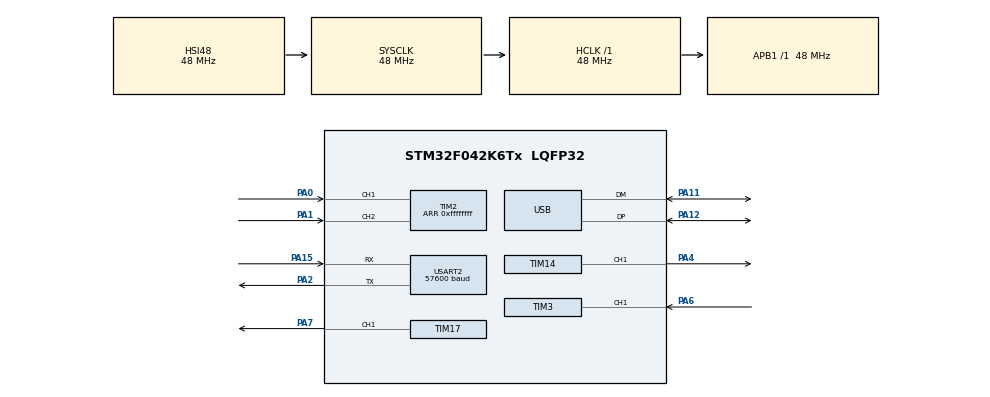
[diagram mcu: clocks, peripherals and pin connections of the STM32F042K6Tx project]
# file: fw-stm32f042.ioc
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Dma.Request0=TIM2_CH1
Dma.TIM2_CH1.0.Direction=DMA_PERIPH_TO_MEMORY
Dma.TIM2_CH1.0.Instance=DMA1_Channel5
Dma.TIM2_CH1.0.MemDataAlignment=DMA_MDATAALIGN_WORD
Dma.TIM2_CH1.0.MemInc=DMA_MINC_ENABLE
Dma.TIM2_CH1.0.Mode=DMA_NORMAL
Dma.TIM2_CH1.0.PeriphDataAlignment=DMA_PDATAALIGN_WORD
Dma.TIM2_CH1.0.PeriphInc=DMA_PINC_DISABLE
Dma.TIM2_CH1.0.Priority=DMA_PRIORITY_HIGH
Mcu.Family=STM32F0
Mcu.Name=STM32F042K6Tx
Mcu.Package=LQFP32
NVIC.DMA1_Channel4_5_IRQn=true\:0\:0\:false\:false\:true
NVIC.USART2_IRQn=true\:0\:0\:false\:false\:true
NVIC.USB_IRQn=true\:0\:0\:false\:false\:true
PA0.Signal=S_TIM2_CH1_ETR
PA1.Signal=S_TIM2_CH2
PA11.Mode=Device
PA11.Signal=USB_DM
PA12.Mode=Device
PA12.Signal=USB_DP
PA13.GPIO_Label=SWDIO
PA13.Signal=SYS_SWDIO
PA14.GPIO_Label=SWCLK
PA14.Signal=SYS_SWCLK
PA15.Mode=Asynchronous
PA15.Signal=USART2_RX
PA2.Mode=Asynchronous
PA2.Signal=USART2_TX
PA4.Signal=S_TIM14_CH1
PA6.Signal=S_TIM3_CH1
PA7.Signal=S_TIM17_CH1
PF0-OSC_IN.GPIO_Label=MCO
PF0-OSC_IN.Mode=HSE-External-Oscillator
PF0-OSC_IN.Signal=RCC_OSC_IN
PF1-OSC_OUT.Mode=HSE-External-Oscillator
PF1-OSC_OUT.Signal=RCC_OSC_OUT
ProjectManager.HeapSize=0x200
ProjectManager.StackSize=0x400
ProjectManager.TargetToolchain=SW4STM32
RCC.AHBFreq_Value=48000000
RCC.APB1Freq_Value=48000000
RCC.APB1TimFreq_Value=48000000
RCC.HCLKFreq_Value=48000000
RCC.HSIState=RCC_HSI_ON
RCC.SYSCLKFreq_VALUE=48000000
RCC.SYSCLKSource=RCC_SYSCLKSOURCE_HSI48
SH.S_TIM14_CH1.0=TIM14_CH1,PWM Generation1 CH1
SH.S_TIM17_CH1.0=TIM17_CH1,PWM Generation1 CH1
SH.S_TIM2_CH1_ETR.0=TIM2_CH1,Input_Capture1_from_TI1
SH.S_TIM2_CH2.0=TIM2_CH2,Input_Capture2_from_TI2
SH.S_TIM3_CH1.0=TIM3_CH1,TriggerSource_TI1FP1
TIM14.Channel=TIM_CHANNEL_1
TIM17.Channel=TIM_CHANNEL_1
TIM2.Channel-Input_Capture1_from_TI1=TIM_CHANNEL_1
TIM2.Channel-Input_Capture2_from_TI2=TIM_CHANNEL_2
TIM2.ICPolarity_CH2=TIM_INPUTCHANNELPOLARITY_FALLING
TIM2.Period=0xffffffff
TIM3.Channel-Output\ Compare2\ No\ Output=TIM_CHANNEL_2
TIM3.OCMode_2=TIM_OCMODE_INACTIVE
TIM3.TIM_MasterOutputTrigger=TIM_TRGO_OC2REF
TIM3.TIM_MasterSlaveMode=TIM_MASTERSLAVEMODE_ENABLE
USART2.BaudRate=57600
USART2.VirtualMode-Asynchronous=VM_ASYNC
USART2.WordLength=WORDLENGTH_8B
USB_DEVICE.CLASS_NAME_FS=CDC
USB_DEVICE.MANUFACTURER_STRING=FEE CTU Prague
USB_DEVICE.PRODUCT_STRING_CDC_FS=Virtual Counter
USB_DEVICE.USBD_HandleTypeDef=hUsbDeviceFS
USB_DEVICE.VirtualMode=Cdc
USB_DEVICE.VirtualModeFS=Cdc_FS
VP_RCC_USB.Mode=CRS SYNC Source USB
VP_TIM14_VS_ClockSourceINT.Mode=Enable_Timer
VP_TIM17_VS_ClockSourceINT.Mode=Enable_Timer
VP_TIM2_VS_ClockSourceITR.Mode=TriggerSource_ITR2
VP_TIM2_VS_ControllerModeGated.Mode=Gated Mode
VP_TIM3_VS_ControllerModeClock.Mode=Clock Mode
VP_TIM3_VS_no_output2.Mode=Output Compare2 No Output
VP_USB_DEVICE_VS_USB_DEVICE_CDC_FS.Mode=CDC_FS
board=NUCLEO-F042K6

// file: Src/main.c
/**
  ******************************************************************************
  * File Name          : main.c
  * Description        : Main program body
  ******************************************************************************
  * This notice applies to any and all portions of this file
  * that are not between comment pairs USER CODE BEGIN and
  * USER CODE END. Other portions of this file, whether
  * inserted by the user or by software development tools
  * are owned by their respective copyright owners.
  *
  * Copyright (c) 2017 STMicroelectronics International N.V.
  * All rights reserved.
  *
  * Redistribution and use in source and binary forms, with or without
  * modification, are permitted, provided that the following conditions are met:
  *
  * 1. Redistribution of source code must retain the above copyright notice,
  *    this list of conditions and the following disclaimer.
  * 2. Redistributions in binary form must reproduce the above copyright notice,
  *    this list of conditions and the following disclaimer in the documentation
  *    and/or other materials provided with the distribution.
  * 3. Neither the name of STMicroelectronics nor the names of other
  *    contributors to this software may be used to endorse or promote products
  *    derived from this software without specific written permission.
  * 4. This software, including modifications and/or derivative works of this
  *    software, must execute solely and exclusively on microcontroller or
  *    microprocessor devices manufactured by or for STMicroelectronics.
  * 5. Redistribution and use of this software other than as permitted under
  *    this license is void and will automatically terminate your rights under
  *    this license.
  *
  * THIS SOFTWARE IS PROVIDED BY STMICROELECTRONICS AND CONTRIBUTORS "AS IS"
  * AND ANY EXPRESS, IMPLIED OR STATUTORY WARRANTIES, INCLUDING, BUT NOT
  * LIMITED TO, THE IMPLIED WARRANTIES OF MERCHANTABILITY, FITNESS FOR A
  * PARTICULAR PURPOSE AND NON-INFRINGEMENT OF THIRD PARTY INTELLECTUAL PROPERTY
  * RIGHTS ARE DISCLAIMED TO THE FULLEST EXTENT PERMITTED BY LAW. IN NO EVENT
  * SHALL STMICROELECTRONICS OR CONTRIBUTORS BE LIABLE FOR ANY DIRECT, INDIRECT,
  * INCIDENTAL, SPECIAL, EXEMPLARY, OR CONSEQUENTIAL DAMAGES (INCLUDING, BUT NOT
  * LIMITED TO, PROCUREMENT OF SUBSTITUTE GOODS OR SERVICES; LOSS OF USE, DATA,
  * OR PROFITS; OR BUSINESS INTERRUPTION) HOWEVER CAUSED AND ON ANY THEORY OF
  * LIABILITY, WHETHER IN CONTRACT, STRICT LIABILITY, OR TORT (INCLUDING
  * NEGLIGENCE OR OTHERWISE) ARISING IN ANY WAY OUT OF THE USE OF THIS SOFTWARE,
  * EVEN IF ADVISED OF THE POSSIBILITY OF SUCH DAMAGE.
  *
  ******************************************************************************
  */
#include "main.h"
#include "stm32f0xx_hal.h"
#include "usb_device.h"

/* USER CODE BEGIN Includes */
#include "virtualinstrument/hw.h"
#include "virtualinstrument/instrument.h"
#include "virtualinstrument/protocol.h"
#include "virtualinstrument/protocol_ascii.h"

#include "hw_stm32f042.h"
#include "usbd_cdc_if.h"
#include "../../../common/protocoldefs.h"

#include <string.h>
/* USER CODE END Includes */

TIM_HandleTypeDef htim2;
TIM_HandleTypeDef htim3;
TIM_HandleTypeDef htim14;
TIM_HandleTypeDef htim17;
DMA_HandleTypeDef hdma_tim2_ch1;

UART_HandleTypeDef huart2;

/* USER CODE BEGIN PV */
/* Private variables ---------------------------------------------------------*/

/* USER CODE END PV */

void SystemClock_Config(void);
static void MX_GPIO_Init(void);
static void MX_DMA_Init(void);
static void MX_TIM2_Init(void);
static void MX_TIM17_Init(void);
static void MX_TIM3_Init(void);
static void MX_TIM14_Init(void);
static void MX_USART2_UART_Init(void);

void HAL_TIM_MspPostInit(TIM_HandleTypeDef *htim);

/* USER CODE BEGIN PFP */
/* Private function prototypes -----------------------------------------------*/

/* USER CODE END PFP */

/* USER CODE BEGIN 0 */
void HardFault_Handler() {
	TIM1->CNT = 0;
}

static void HWSysInit(void) {
#ifdef STM32F042F6
  SYSCFG->CFGR1 |= SYSCFG_CFGR1_PA11_PA12_RMP;
#endif
}

static int HWTryEnableHSE(void) {
  RCC_OscInitTypeDef RCC_OscInitStruct;
  RCC_ClkInitTypeDef RCC_ClkInitStruct;

  /**Initializes the CPU, AHB and APB busses clocks
  */
  RCC_OscInitStruct.OscillatorType = RCC_OSCILLATORTYPE_HSI48|RCC_OSCILLATORTYPE_HSE;
  RCC_OscInitStruct.HSEState = RCC_HSE_ON;
  RCC_OscInitStruct.HSIState = RCC_HSI_ON;
  RCC_OscInitStruct.HSI48State = RCC_HSI48_ON;
  RCC_OscInitStruct.PLL.PLLState = RCC_PLL_ON;
  RCC_OscInitStruct.PLL.PLLSource = RCC_PLLSOURCE_HSE;
  RCC_OscInitStruct.PLL.PLLMUL = RCC_PLL_MUL6;
  RCC_OscInitStruct.PLL.PREDIV = RCC_PREDIV_DIV1;
  if (HAL_RCC_OscConfig(&RCC_OscInitStruct) != HAL_OK) {
    return -1;
  }

  /**Initializes the CPU, AHB and APB busses clocks
  */
  RCC_ClkInitStruct.ClockType = RCC_CLOCKTYPE_HCLK|RCC_CLOCKTYPE_SYSCLK
                                |RCC_CLOCKTYPE_PCLK1;
  RCC_ClkInitStruct.SYSCLKSource = RCC_SYSCLKSOURCE_PLLCLK;
  RCC_ClkInitStruct.AHBCLKDivider = RCC_SYSCLK_DIV1;
  RCC_ClkInitStruct.APB1CLKDivider = RCC_HCLK_DIV1;

  if (HAL_RCC_ClockConfig(&RCC_ClkInitStruct, FLASH_LATENCY_1) != HAL_OK) {
    return -2;
  }

  return 0;
}

int DataOut(const uint8_t* data, size_t length) {
    static const uint32_t kTimeout = 2000;

#if defined(ENABLE_USB_CDC)
    uint32_t startTime = HAL_GetTick();
    int rc;

    do {
        rc = CDC_Transmit_FS((uint8_t*) data, length);
    }
    while (rc == USBD_BUSY && HAL_GetTick() < startTime + kTimeout);

    return rc;
#elif defined(ENABLE_VCP)
    return HAL_UART_Transmit(&huart2, (uint8_t*) data, length, kTimeout);
#else
#error No communication interface was enabled.
#endif
}

#ifdef STM32F042F6
#define PORT_PULSE_COUNT            "6"
#define PORT_PERIOD_1               "6"
#define PORT_PERIOD_2               "7"
#define PORT_INTERVAL_A             "6"
#define PORT_INTERVAL_B             "7"
#define PORT_FREQ_RATIO_A           "6"
#define PORT_FREQ_RATIO_B           "12"
#define PORT_PWM_A                  "10"
#define PORT_PWM_B                  "13"
#endif

#ifdef STM32F042K6
#define PORT_PULSE_COUNT            "A0"
#define PORT_PERIOD_1               "A0"
#define PORT_PERIOD_2               "A1"
#define PORT_INTERVAL_A             "A0"
#define PORT_INTERVAL_B             "A1"
#define PORT_FREQ_RATIO_A           "A0"
#define PORT_FREQ_RATIO_B           "A5"
#define PORT_PWM_A                  "A3"
#define PORT_PWM_B                  "A6"
#endif

static const protocol_ascii_options_t ascii_options = {
        .port_in_pulse_count = PORT_PULSE_COUNT,
        .port_in_period = PORT_PERIOD_1,
        .port_in_pwm_1 = PORT_PERIOD_1,
        .port_in_pwm_2 = PORT_PERIOD_2,
        .port_in_interval_a = PORT_INTERVAL_A,
        .port_in_interval_b = PORT_INTERVAL_B,
        .port_in_freq_ratio_a = PORT_FREQ_RATIO_A,
        .port_in_freq_ratio_b = PORT_FREQ_RATIO_B,
        .port_out_pwm_a = PORT_PWM_A,
        .port_out_pwm_b = PORT_PWM_B,
};
/* USER CODE END 0 */

int main(void)
{

  /* MCU Configuration----------------------------------------------------------*/

  /* Reset of all peripherals, Initializes the Flash interface and the Systick. */
  HAL_Init();

  /* Configure the system clock */
  SystemClock_Config();

  /* USER CODE BEGIN SysInit */
  HWSysInit();
  int haveHse = (HWTryEnableHSE() == 0);

  int timebaseSource;

  if (haveHse) {
	  timebaseSource = TIMEBASE_SOURCE_EXTERNAL;
  }
  else {
#if defined(ENABLE_USB_CDC)
	  timebaseSource = TIMEBASE_SOURCE_USB20;
#elif defined(ENABLE_VCP)
	  timebaseSource = TIMEBASE_SOURCE_INTERNAL;
#else
#error bad configuration
#endif
  }

  /* USER CODE END SysInit */

  /* Initialize all configured peripherals */
  MX_GPIO_Init();
  MX_DMA_Init();
  MX_USB_DEVICE_Init();
  MX_TIM2_Init();
  MX_TIM17_Init();
  MX_TIM3_Init();
  MX_TIM14_Init();
  MX_USART2_UART_Init();

  /* USER CODE BEGIN 2 */
  HAL_TIM_PWM_Start(&PWM1_HTIM, PWM1_CHANNEL);
  HAL_TIM_PWM_Start(&PWM2_HTIM, PWM2_CHANNEL);

#ifdef STM32F042F6
  protocolInit(BOARD_F042F6, INSTRUMENT_VERSION, SystemCoreClock, timebaseSource);
#else
  protocolInit(BOARD_F042K6_NUCLEO32, INSTRUMENT_VERSION, SystemCoreClock, timebaseSource);
#endif

  protocolAsciiInit(&ascii_options);

#ifdef ENABLE_VCP
  __HAL_UART_ENABLE_IT(&huart2, UART_IT_RXNE);
#endif

  __HAL_RCC_TIM1_CLK_ENABLE();
  __HAL_RCC_TIM2_CLK_ENABLE();
  __HAL_RCC_TIM3_CLK_ENABLE();

  instrumentInit();
  /* USER CODE END 2 */

  /* Infinite loop */
  while (1)
  {

  /* USER CODE BEGIN 3 */
	  instrumentProcess();
	  protocolProcess();
  }
  /* USER CODE END 3 */

}

/** System Clock Configuration
*/
void SystemClock_Config(void)
{

  RCC_OscInitTypeDef RCC_OscInitStruct;
  RCC_ClkInitTypeDef RCC_ClkInitStruct;
  RCC_PeriphCLKInitTypeDef PeriphClkInit;
  RCC_CRSInitTypeDef RCC_CRSInitStruct;

    /**Initializes the CPU, AHB and APB busses clocks
    */
  RCC_OscInitStruct.OscillatorType = RCC_OSCILLATORTYPE_HSI48;
  RCC_OscInitStruct.HSI48State = RCC_HSI48_ON;
  RCC_OscInitStruct.PLL.PLLState = RCC_PLL_NONE;
  if (HAL_RCC_OscConfig(&RCC_OscInitStruct) != HAL_OK)
  {
    _Error_Handler(__FILE__, __LINE__);
  }

    /**Initializes the CPU, AHB and APB busses clocks
    */
  RCC_ClkInitStruct.ClockType = RCC_CLOCKTYPE_HCLK|RCC_CLOCKTYPE_SYSCLK
                              |RCC_CLOCKTYPE_PCLK1;
  RCC_ClkInitStruct.SYSCLKSource = RCC_SYSCLKSOURCE_HSI48;
  RCC_ClkInitStruct.AHBCLKDivider = RCC_SYSCLK_DIV1;
  RCC_ClkInitStruct.APB1CLKDivider = RCC_HCLK_DIV1;

  if (HAL_RCC_ClockConfig(&RCC_ClkInitStruct, FLASH_LATENCY_1) != HAL_OK)
  {
    _Error_Handler(__FILE__, __LINE__);
  }

  PeriphClkInit.PeriphClockSelection = RCC_PERIPHCLK_USB;
  PeriphClkInit.UsbClockSelection = RCC_USBCLKSOURCE_HSI48;

  if (HAL_RCCEx_PeriphCLKConfig(&PeriphClkInit) != HAL_OK)
  {
    _Error_Handler(__FILE__, __LINE__);
  }

    /**Enable the SYSCFG APB clock
    */
  __HAL_RCC_CRS_CLK_ENABLE();

    /**Configures CRS
    */
  RCC_CRSInitStruct.Prescaler = RCC_CRS_SYNC_DIV1;
  RCC_CRSInitStruct.Source = RCC_CRS_SYNC_SOURCE_USB;
  RCC_CRSInitStruct.Polarity = RCC_CRS_SYNC_POLARITY_RISING;
  RCC_CRSInitStruct.ReloadValue = __HAL_RCC_CRS_RELOADVALUE_CALCULATE(48000000,1000);
  RCC_CRSInitStruct.ErrorLimitValue = 34;
  RCC_CRSInitStruct.HSI48CalibrationValue = 32;

  HAL_RCCEx_CRSConfig(&RCC_CRSInitStruct);

    /**Configure the Systick interrupt time
    */
  HAL_SYSTICK_Config(HAL_RCC_GetHCLKFreq()/1000);

    /**Configure the Systick
    */
  HAL_SYSTICK_CLKSourceConfig(SYSTICK_CLKSOURCE_HCLK);

  /* SysTick_IRQn interrupt configuration */
  HAL_NVIC_SetPriority(SysTick_IRQn, 0, 0);
}

/* TIM2 init function */
static void MX_TIM2_Init(void)
{

  TIM_SlaveConfigTypeDef sSlaveConfig;
  TIM_MasterConfigTypeDef sMasterConfig;
  TIM_IC_InitTypeDef sConfigIC;

  htim2.Instance = TIM2;
  htim2.Init.Prescaler = 0;
  htim2.Init.CounterMode = TIM_COUNTERMODE_UP;
  htim2.Init.Period = 0xffffffff;
  htim2.Init.ClockDivision = TIM_CLOCKDIVISION_DIV1;
  htim2.Init.AutoReloadPreload = TIM_AUTORELOAD_PRELOAD_DISABLE;
  if (HAL_TIM_Base_Init(&htim2) != HAL_OK)
  {
    _Error_Handler(__FILE__, __LINE__);
  }

  if (HAL_TIM_IC_Init(&htim2) != HAL_OK)
  {
    _Error_Handler(__FILE__, __LINE__);
  }

  sSlaveConfig.SlaveMode = TIM_SLAVEMODE_GATED;
  sSlaveConfig.InputTrigger = TIM_TS_ITR2;
  if (HAL_TIM_SlaveConfigSynchronization(&htim2, &sSlaveConfig) != HAL_OK)
  {
    _Error_Handler(__FILE__, __LINE__);
  }

  sMasterConfig.MasterOutputTrigger = TIM_TRGO_RESET;
  sMasterConfig.MasterSlaveMode = TIM_MASTERSLAVEMODE_DISABLE;
  if (HAL_TIMEx_MasterConfigSynchronization(&htim2, &sMasterConfig) != HAL_OK)
  {
    _Error_Handler(__FILE__, __LINE__);
  }

  sConfigIC.ICPolarity = TIM_INPUTCHANNELPOLARITY_RISING;
  sConfigIC.ICSelection = TIM_ICSELECTION_DIRECTTI;
  sConfigIC.ICPrescaler = TIM_ICPSC_DIV1;
  sConfigIC.ICFilter = 0;
  if (HAL_TIM_IC_ConfigChannel(&htim2, &sConfigIC, TIM_CHANNEL_1) != HAL_OK)
  {
    _Error_Handler(__FILE__, __LINE__);
  }

  sConfigIC.ICPolarity = TIM_INPUTCHANNELPOLARITY_FALLING;
  if (HAL_TIM_IC_ConfigChannel(&htim2, &sConfigIC, TIM_CHANNEL_2) != HAL_OK)
  {
    _Error_Handler(__FILE__, __LINE__);
  }

}

/* TIM3 init function */
static void MX_TIM3_Init(void)
{

  TIM_SlaveConfigTypeDef sSlaveConfig;
  TIM_MasterConfigTypeDef sMasterConfig;
  TIM_OC_InitTypeDef sConfigOC;

  htim3.Instance = TIM3;
  htim3.Init.Prescaler = 0;
  htim3.Init.CounterMode = TIM_COUNTERMODE_UP;
  htim3.Init.Period = 0;
  htim3.Init.ClockDivision = TIM_CLOCKDIVISION_DIV1;
  htim3.Init.AutoReloadPreload = TIM_AUTORELOAD_PRELOAD_DISABLE;
  if (HAL_TIM_Base_Init(&htim3) != HAL_OK)
  {
    _Error_Handler(__FILE__, __LINE__);
  }

  if (HAL_TIM_OC_Init(&htim3) != HAL_OK)
  {
    _Error_Handler(__FILE__, __LINE__);
  }

  sSlaveConfig.SlaveMode = TIM_SLAVEMODE_EXTERNAL1;
  sSlaveConfig.InputTrigger = TIM_TS_TI1FP1;
  sSlaveConfig.TriggerPolarity = TIM_TRIGGERPOLARITY_RISING;
  sSlaveConfig.TriggerFilter = 0;
  if (HAL_TIM_SlaveConfigSynchronization(&htim3, &sSlaveConfig) != HAL_OK)
  {
    _Error_Handler(__FILE__, __LINE__);
  }

  sMasterConfig.MasterOutputTrigger = TIM_TRGO_OC2REF;
  sMasterConfig.MasterSlaveMode = TIM_MASTERSLAVEMODE_ENABLE;
  if (HAL_TIMEx_MasterConfigSynchronization(&htim3, &sMasterConfig) != HAL_OK)
  {
    _Error_Handler(__FILE__, __LINE__);
  }

  sConfigOC.OCMode = TIM_OCMODE_INACTIVE;
  sConfigOC.Pulse = 0;
  sConfigOC.OCPolarity = TIM_OCPOLARITY_HIGH;
  sConfigOC.OCFastMode = TIM_OCFAST_DISABLE;
  if (HAL_TIM_OC_ConfigChannel(&htim3, &sConfigOC, TIM_CHANNEL_2) != HAL_OK)
  {
    _Error_Handler(__FILE__, __LINE__);
  }

}

/* TIM14 init function */
static void MX_TIM14_Init(void)
{

  TIM_OC_InitTypeDef sConfigOC;

  htim14.Instance = TIM14;
  htim14.Init.Prescaler = 0;
  htim14.Init.CounterMode = TIM_COUNTERMODE_UP;
  htim14.Init.Period = 0;
  htim14.Init.ClockDivision = TIM_CLOCKDIVISION_DIV1;
  htim14.Init.AutoReloadPreload = TIM_AUTORELOAD_PRELOAD_DISABLE;
  if (HAL_TIM_Base_Init(&htim14) != HAL_OK)
  {
    _Error_Handler(__FILE__, __LINE__);
  }

  if (HAL_TIM_PWM_Init(&htim14) != HAL_OK)
  {
    _Error_Handler(__FILE__, __LINE__);
  }

  sConfigOC.OCMode = TIM_OCMODE_PWM1;
  sConfigOC.Pulse = 0;
  sConfigOC.OCPolarity = TIM_OCPOLARITY_HIGH;
  sConfigOC.OCFastMode = TIM_OCFAST_DISABLE;
  if (HAL_TIM_PWM_ConfigChannel(&htim14, &sConfigOC, TIM_CHANNEL_1) != HAL_OK)
  {
    _Error_Handler(__FILE__, __LINE__);
  }

  HAL_TIM_MspPostInit(&htim14);

}

/* TIM17 init function */
static void MX_TIM17_Init(void)
{

  TIM_OC_InitTypeDef sConfigOC;
  TIM_BreakDeadTimeConfigTypeDef sBreakDeadTimeConfig;

  htim17.Instance = TIM17;
  htim17.Init.Prescaler = 0;
  htim17.Init.CounterMode = TIM_COUNTERMODE_UP;
  htim17.Init.Period = 0;
  htim17.Init.ClockDivision = TIM_CLOCKDIVISION_DIV1;
  htim17.Init.RepetitionCounter = 0;
  htim17.Init.AutoReloadPreload = TIM_AUTORELOAD_PRELOAD_DISABLE;
  if (HAL_TIM_Base_Init(&htim17) != HAL_OK)
  {
    _Error_Handler(__FILE__, __LINE__);
  }

  if (HAL_TIM_PWM_Init(&htim17) != HAL_OK)
  {
    _Error_Handler(__FILE__, __LINE__);
  }

  sConfigOC.OCMode = TIM_OCMODE_PWM1;
  sConfigOC.Pulse = 0;
  sConfigOC.OCPolarity = TIM_OCPOLARITY_HIGH;
  sConfigOC.OCNPolarity = TIM_OCNPOLARITY_HIGH;
  sConfigOC.OCFastMode = TIM_OCFAST_DISABLE;
  sConfigOC.OCIdleState = TIM_OCIDLESTATE_RESET;
  sConfigOC.OCNIdleState = TIM_OCNIDLESTATE_RESET;
  if (HAL_TIM_PWM_ConfigChannel(&htim17, &sConfigOC, TIM_CHANNEL_1) != HAL_OK)
  {
    _Error_Handler(__FILE__, __LINE__);
  }

  sBreakDeadTimeConfig.OffStateRunMode = TIM_OSSR_DISABLE;
  sBreakDeadTimeConfig.OffStateIDLEMode = TIM_OSSI_DISABLE;
  sBreakDeadTimeConfig.LockLevel = TIM_LOCKLEVEL_OFF;
  sBreakDeadTimeConfig.DeadTime = 0;
  sBreakDeadTimeConfig.BreakState = TIM_BREAK_DISABLE;
  sBreakDeadTimeConfig.BreakPolarity = TIM_BREAKPOLARITY_HIGH;
  sBreakDeadTimeConfig.AutomaticOutput = TIM_AUTOMATICOUTPUT_DISABLE;
  if (HAL_TIMEx_ConfigBreakDeadTime(&htim17, &sBreakDeadTimeConfig) != HAL_OK)
  {
    _Error_Handler(__FILE__, __LINE__);
  }

  HAL_TIM_MspPostInit(&htim17);

}

/* USART2 init function */
static void MX_USART2_UART_Init(void)
{

  huart2.Instance = USART2;
  huart2.Init.BaudRate = 57600;
  huart2.Init.WordLength = UART_WORDLENGTH_8B;
  huart2.Init.StopBits = UART_STOPBITS_1;
  huart2.Init.Parity = UART_PARITY_NONE;
  huart2.Init.Mode = UART_MODE_TX_RX;
  huart2.Init.HwFlowCtl = UART_HWCONTROL_NONE;
  huart2.Init.OverSampling = UART_OVERSAMPLING_16;
  huart2.Init.OneBitSampling = UART_ONE_BIT_SAMPLE_DISABLE;
  huart2.AdvancedInit.AdvFeatureInit = UART_ADVFEATURE_NO_INIT;
  if (HAL_UART_Init(&huart2) != HAL_OK)
  {
    _Error_Handler(__FILE__, __LINE__);
  }

}

static void MX_DMA_Init(void)
{
  /* DMA controller clock enable */
  __HAL_RCC_DMA1_CLK_ENABLE();

  /* DMA interrupt init */
  /* DMA1_Channel4_5_IRQn interrupt configuration */
  HAL_NVIC_SetPriority(DMA1_Channel4_5_IRQn, 0, 0);
  HAL_NVIC_EnableIRQ(DMA1_Channel4_5_IRQn);

}

/** Configure pins as
        * Analog
        * Input
        * Output
        * EVENT_OUT
        * EXTI
*/
static void MX_GPIO_Init(void)
{

  /* GPIO Ports Clock Enable */
  __HAL_RCC_GPIOF_CLK_ENABLE();
  __HAL_RCC_GPIOA_CLK_ENABLE();

}

void _Error_Handler(char * file, int line)
{
  while(1)
  {
  }
}

/************************ (C) COPYRIGHT STMicroelectronics *****END OF FILE****/
